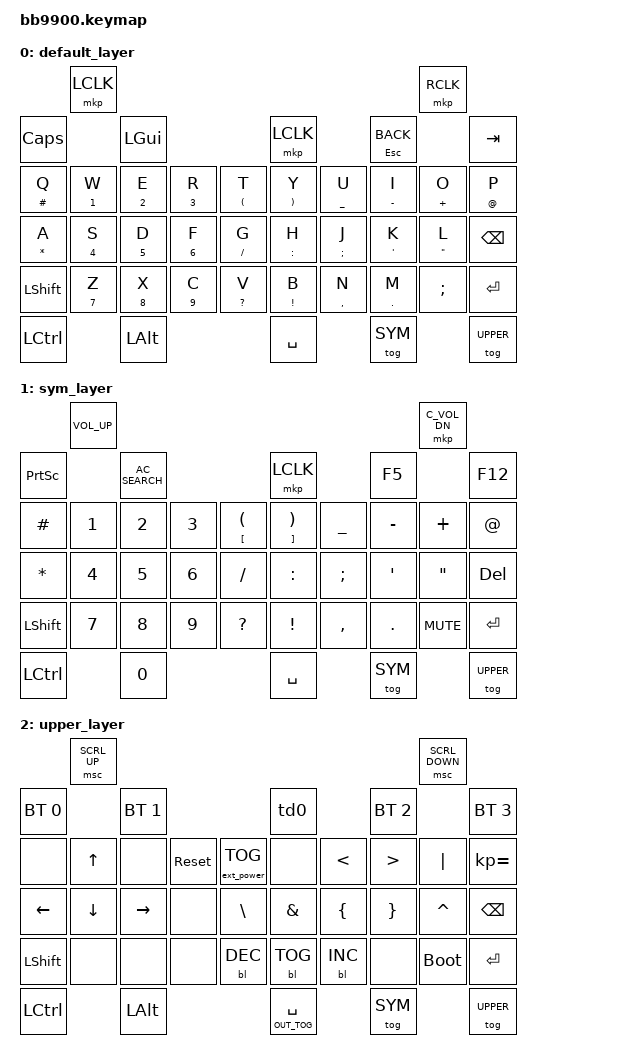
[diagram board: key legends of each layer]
/*
 * Copyright (c) 2023 ZitaoTech
 *
 * SPDX-License-Identifier: MIT
 */

/*
 * Note for repo users:
 * The primary keymap edited in normal GitHub workflows is config/bb9900.keymap.
 * Keep this board-scoped copy in sync only when you intentionally update both.
 */

#include <behaviors.dtsi>
#include <dt-bindings/zmk/keys.h>
#include <dt-bindings/zmk/bt.h>
#include <dt-bindings/zmk/outputs.h>
#include <dt-bindings/zmk/mouse.h>
#include <dt-bindings/zmk/backlight.h>
#include <dt-bindings/zmk/ext_power.h>


#define SYM 1
#define UPPER 2


/ {
    behaviors {
        td0: tap_dance_0 {
            compatible = "zmk,behavior-tap-dance";
            #binding-cells = <0>;
            tapping-term-ms = <400>;
            bindings = <&mkp LCLK>, <&bt BT_CLR>;
        };
    };
    behaviors {
        hm: homerow_mods {
            compatible = "zmk,behavior-hold-tap";
            #binding-cells = <2>;
            tapping-term-ms = <500>;
            bindings = <&out &kp>;
        };
    };

    behaviors {
        bhm: balanced_homerow_mods {
            compatible = "zmk,behavior-hold-tap";
            #binding-cells = <2>;
            flavor = "balanced";
            tapping-term-ms = <400>;
            bindings = <&kp>, <&kp>;
        };
    };

    keymap {
        compatible = "zmk,keymap";

        default_layer {

            bindings = <
//         --------------------------------------------------------------------------------------------------------------------------         
//         |    Shoulder Key1    |                                                                             |    Shoulder Key2    |     
// |         Call key      |      Blackberry Key        |    Trackpad    |             Back Key                |             Endcall Key          |
// |     Q      |     W    |     E    |     R    |      T      |       Y        |       U        |        I        |       O      |      P        |     
// |     A      |     S    |     D    |     F    |      G      |       H        |       J        |        K        |       L      |      ←        |  
// |     alt    |     Z    |     X    |     C    |      V      |       B        |       N        |        M        |       $      |    Enter      |   
//        |         aA     |         0           |           SPACE              |         SYM         |        aA          |       
//        -----------------------------------------------------------------------------------------------------------------

                 &mkp LCLK                                                                                             &mkp RCLK
    &kp CLCK                &kp LGUI                            &mkp LCLK                          &mt ESC K_BACK                    &kp TAB
    &bhm HASH Q  &bhm N1 W  &bhm N2 E  &bhm N3 R  &bhm LPAR T   &bhm RPAR Y        &bhm UNDER U    &bhm MINUS I        &bhm PLUS O   &bhm AT P
    &bhm STAR A  &bhm N4 S  &bhm N5 D  &bhm N6 F  &bhm SLASH G  &bhm COLON H       &bhm SEMI J     &bhm APOS K         &bhm DQT L    &kp BSPC
    &kp LSHFT    &bhm N7 Z  &bhm N8 X  &bhm N9 C  &bhm QMARK V  &bhm EXCL B        &bhm COMMA N    &bhm DOT M          &kp SEMI      &kp ENTER
    &kp LCTRL               &kp LALT                            &kp SPACE                          &tog SYM                          &tog UPPER
            >;
        };


        sym_layer {

            bindings = <        
                 &kp C_VOL_UP                                                                                       &mkp C_VOL_DN
    &kp PSCRN               &kp C_AC_SEARCH                     &mkp LCLK                          &kp F5                            &kp F12 
    &kp HASH     &kp N1     &kp N2      &kp N3    &mt LBKT LPAR &mt RBKT RPAR     &kp UNDER        &kp MINUS        &kp PLUS         &kp AT
    &kp STAR     &kp N4     &kp N5      &kp N6    &kp SLASH     &kp COLON         &kp SEMI         &kp APOS         &kp DQT          &kp DEL
    &kp LSHFT    &kp N7     &kp N8      &kp N9    &kp QMARK     &kp EXCL          &kp COMMA        &kp DOT          &kp C_MUTE       &kp ENTER
    &kp LCTRL               &kp N0                              &kp SPACE                          &tog SYM                          &tog UPPER
            >;
        };

        upper_layer {

            bindings = <
                 &msc SCRL_UP                                                                                       &msc SCRL_DOWN
    &bt BT_SEL 0            &bt BT_SEL 1                             &td0                           &bt BT_SEL 2                     &bt BT_SEL 3
    &none        &kp UP     &none       &sys_reset &ext_power EP_TOG &none         &kp LT           &kp GT          &kp PIPE         &kp KP_EQUAL
    &kp LEFT     &kp DOWN   &kp RIGHT   &none      &kp BSLH          &kp AMPS      &kp LBRC         &kp RBRC        &kp CARET        &kp BSPC
    &kp LSHFT    &none      &none       &none      &bl BL_DEC        &bl BL_TOG    &bl BL_INC       &none           &bootloader      &kp ENTER
    &kp LCTRL               &kp LALT                                 &hm OUT_TOG SPACE              &tog SYM                         &tog UPPER
            >;
        };
    };
};

